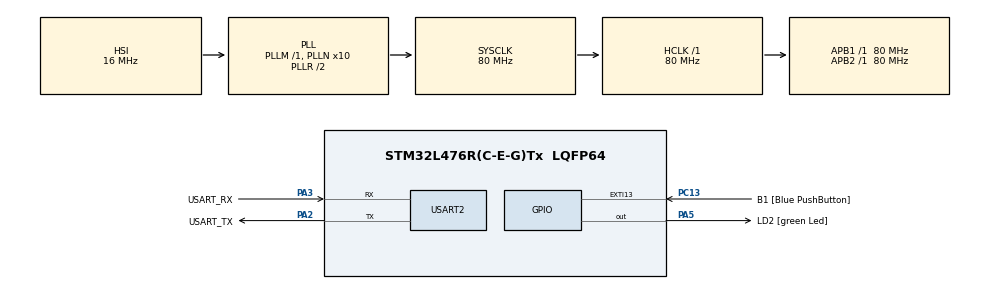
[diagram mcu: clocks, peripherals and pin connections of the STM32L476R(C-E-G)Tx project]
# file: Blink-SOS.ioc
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Mcu.Family=STM32L4
Mcu.Name=STM32L476R(C-E-G)Tx
Mcu.Package=LQFP64
NVIC.PriorityGroup=NVIC_PRIORITYGROUP_4
PA13\ (JTMS-SWDIO).GPIO_Label=TMS
PA13\ (JTMS-SWDIO).Mode=Serial_Wire
PA13\ (JTMS-SWDIO).Signal=SYS_JTMS-SWDIO
PA14\ (JTCK-SWCLK).GPIO_Label=TCK
PA14\ (JTCK-SWCLK).Mode=Serial_Wire
PA14\ (JTCK-SWCLK).Signal=SYS_JTCK-SWCLK
PA2.GPIO_Label=USART_TX
PA2.GPIO_Mode=GPIO_MODE_AF_PP
PA2.GPIO_PuPd=GPIO_NOPULL
PA2.GPIO_Speed=GPIO_SPEED_FREQ_VERY_HIGH
PA2.Mode=Asynchronous
PA2.Signal=USART2_TX
PA3.GPIO_Label=USART_RX
PA3.GPIO_Mode=GPIO_MODE_AF_PP
PA3.GPIO_PuPd=GPIO_NOPULL
PA3.GPIO_Speed=GPIO_SPEED_FREQ_VERY_HIGH
PA3.Mode=Asynchronous
PA3.Signal=USART2_RX
PA5.GPIO_Label=LD2 [green Led]
PA5.GPIO_ModeDefaultOutputPP=GPIO_MODE_OUTPUT_PP
PA5.GPIO_PuPd=GPIO_NOPULL
PA5.GPIO_Speed=GPIO_SPEED_FREQ_LOW
PA5.Signal=GPIO_Output
PB3\ (JTDO-TRACESWO).GPIO_Label=SWO
PB3\ (JTDO-TRACESWO).Signal=SYS_JTDO-SWO
PC13.GPIO_Label=B1 [Blue PushButton]
PC13.GPIO_ModeDefaultEXTI=GPIO_MODE_IT_FALLING
PC13.GPIO_PuPd=GPIO_NOPULL
PC13.Signal=GPXTI13
PC14-OSC32_IN\ (PC14).Mode=LSE-External-Oscillator
PC14-OSC32_IN\ (PC14).Signal=RCC_OSC32_IN
PC15-OSC32_OUT\ (PC15).Mode=LSE-External-Oscillator
PC15-OSC32_OUT\ (PC15).Signal=RCC_OSC32_OUT
PH0-OSC_IN\ (PH0).Signal=RCC_OSC_IN
PH1-OSC_OUT\ (PH1).Signal=RCC_OSC_OUT
ProjectManager.HeapSize=0x200
ProjectManager.StackSize=0x400
ProjectManager.TargetToolchain=STM32CubeIDE
RCC.ADCFreq_Value=64000000
RCC.AHBFreq_Value=80000000
RCC.APB1Freq_Value=80000000
RCC.APB1TimFreq_Value=80000000
RCC.APB2Freq_Value=80000000
RCC.APB2TimFreq_Value=80000000
RCC.CortexFreq_Value=80000000
RCC.HCLKFreq_Value=80000000
RCC.HSE_VALUE=8000000
RCC.HSI_VALUE=16000000
RCC.MSI_VALUE=4000000
RCC.PLLN=10
RCC.PLLSourceVirtual=RCC_PLLSOURCE_HSI
RCC.PREFETCH_ENABLE=1
RCC.SYSCLKFreq_VALUE=80000000
RCC.SYSCLKSource=RCC_SYSCLKSOURCE_PLLCLK
RCC.USBFreq_Value=64000000
RCC.VCOOutputFreq_Value=160000000
USART2.VirtualMode-Asynchronous=VM_ASYNC
board=NUCLEO-L476RG

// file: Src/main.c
/* USER CODE BEGIN Header */
/**
 ******************************************************************************
 * @file           : main.c
 * @brief          : Main program body
 ******************************************************************************
 * @attention
 *
 * <h2><center>&copy; Copyright (c) 2019 STMicroelectronics.
 * All rights reserved.</center></h2>
 *
 * This software component is licensed by ST under BSD 3-Clause license,
 * the "License"; You may not use this file except in compliance with the
 * License. You may obtain a copy of the License at:
 *                        opensource.org/licenses/BSD-3-Clause
 *
 ******************************************************************************
 */
/* USER CODE END Header */

#include "main.h"

/* USER CODE BEGIN PD */
#define OFF_LENGTH 200
#define DOT_LENGTH OFF_LENGTH*2
#define DASH_LENGTH DOT_LENGTH*3

/* USER CODE END PD */

UART_HandleTypeDef huart2;

void SystemClock_Config(void);
static void MX_GPIO_Init(void);
static void MX_USART2_UART_Init(void);

/* USER CODE BEGIN 0 */
void writeLEDCycle(int msOn, int msOff) {
	HAL_GPIO_WritePin(LD2_GPIO_Port, LD2_Pin, GPIO_PIN_SET);
	HAL_Delay(msOn);
	HAL_GPIO_TogglePin(LD2_GPIO_Port, LD2_Pin);
	HAL_Delay(msOff);
}

void writeDot() {
	writeLEDCycle(DOT_LENGTH, OFF_LENGTH);
}

void writeDash() {
	writeLEDCycle(DASH_LENGTH, OFF_LENGTH);
}

void writeS() {
	writeDot();
	writeDot();
	writeDot();
}

void writeO() {
	writeDash();
	writeDash();
	writeDash();
}
/* USER CODE END 0 */

int main(void) {

	/* MCU Configuration--------------------------------------------------------*/

	/* Reset of all peripherals, Initializes the Flash interface and the Systick. */
	HAL_Init();

	/* Configure the system clock */
	SystemClock_Config();

	/* Initialize all configured peripherals */
	MX_GPIO_Init();
	MX_USART2_UART_Init();

	/* Infinite loop */
	while (1) {
		writeS();
		writeO();
		writeS();
	}
}

void SystemClock_Config(void) {
	RCC_OscInitTypeDef RCC_OscInitStruct = { 0 };
	RCC_ClkInitTypeDef RCC_ClkInitStruct = { 0 };
	RCC_PeriphCLKInitTypeDef PeriphClkInit = { 0 };

	/** Initializes the CPU, AHB and APB busses clocks
	 */
	RCC_OscInitStruct.OscillatorType = RCC_OSCILLATORTYPE_HSI;
	RCC_OscInitStruct.HSIState = RCC_HSI_ON;
	RCC_OscInitStruct.HSICalibrationValue = RCC_HSICALIBRATION_DEFAULT;
	RCC_OscInitStruct.PLL.PLLState = RCC_PLL_ON;
	RCC_OscInitStruct.PLL.PLLSource = RCC_PLLSOURCE_HSI;
	RCC_OscInitStruct.PLL.PLLM = 1;
	RCC_OscInitStruct.PLL.PLLN = 10;
	RCC_OscInitStruct.PLL.PLLP = RCC_PLLP_DIV7;
	RCC_OscInitStruct.PLL.PLLQ = RCC_PLLQ_DIV2;
	RCC_OscInitStruct.PLL.PLLR = RCC_PLLR_DIV2;
	if (HAL_RCC_OscConfig(&RCC_OscInitStruct) != HAL_OK) {
		Error_Handler();
	}
	/** Initializes the CPU, AHB and APB busses clocks
	 */
	RCC_ClkInitStruct.ClockType = RCC_CLOCKTYPE_HCLK | RCC_CLOCKTYPE_SYSCLK
			| RCC_CLOCKTYPE_PCLK1 | RCC_CLOCKTYPE_PCLK2;
	RCC_ClkInitStruct.SYSCLKSource = RCC_SYSCLKSOURCE_PLLCLK;
	RCC_ClkInitStruct.AHBCLKDivider = RCC_SYSCLK_DIV1;
	RCC_ClkInitStruct.APB1CLKDivider = RCC_HCLK_DIV1;
	RCC_ClkInitStruct.APB2CLKDivider = RCC_HCLK_DIV1;

	if (HAL_RCC_ClockConfig(&RCC_ClkInitStruct, FLASH_LATENCY_4) != HAL_OK) {
		Error_Handler();
	}
	PeriphClkInit.PeriphClockSelection = RCC_PERIPHCLK_USART2;
	PeriphClkInit.Usart2ClockSelection = RCC_USART2CLKSOURCE_PCLK1;
	if (HAL_RCCEx_PeriphCLKConfig(&PeriphClkInit) != HAL_OK) {
		Error_Handler();
	}
	/** Configure the main internal regulator output voltage
	 */
	if (HAL_PWREx_ControlVoltageScaling(PWR_REGULATOR_VOLTAGE_SCALE1)
			!= HAL_OK) {
		Error_Handler();
	}
}

static void MX_USART2_UART_Init(void) {

	huart2.Instance = USART2;
	huart2.Init.BaudRate = 115200;
	huart2.Init.WordLength = UART_WORDLENGTH_8B;
	huart2.Init.StopBits = UART_STOPBITS_1;
	huart2.Init.Parity = UART_PARITY_NONE;
	huart2.Init.Mode = UART_MODE_TX_RX;
	huart2.Init.HwFlowCtl = UART_HWCONTROL_NONE;
	huart2.Init.OverSampling = UART_OVERSAMPLING_16;
	huart2.Init.OneBitSampling = UART_ONE_BIT_SAMPLE_DISABLE;
	huart2.AdvancedInit.AdvFeatureInit = UART_ADVFEATURE_NO_INIT;
	if (HAL_UART_Init(&huart2) != HAL_OK) {
		Error_Handler();
	}

}

static void MX_GPIO_Init(void) {
	GPIO_InitTypeDef GPIO_InitStruct = { 0 };

	/* GPIO Ports Clock Enable */
	__HAL_RCC_GPIOC_CLK_ENABLE()
	;
	__HAL_RCC_GPIOH_CLK_ENABLE()
	;
	__HAL_RCC_GPIOA_CLK_ENABLE()
	;
	__HAL_RCC_GPIOB_CLK_ENABLE()
	;

	/*Configure GPIO pin Output Level */
	HAL_GPIO_WritePin(LD2_GPIO_Port, LD2_Pin, GPIO_PIN_RESET);

	/*Configure GPIO pin : B1_Pin */
	GPIO_InitStruct.Pin = B1_Pin;
	GPIO_InitStruct.Mode = GPIO_MODE_IT_FALLING;
	GPIO_InitStruct.Pull = GPIO_NOPULL;
	HAL_GPIO_Init(B1_GPIO_Port, &GPIO_InitStruct);

	/*Configure GPIO pin : LD2_Pin */
	GPIO_InitStruct.Pin = LD2_Pin;
	GPIO_InitStruct.Mode = GPIO_MODE_OUTPUT_PP;
	GPIO_InitStruct.Pull = GPIO_NOPULL;
	GPIO_InitStruct.Speed = GPIO_SPEED_FREQ_LOW;
	HAL_GPIO_Init(LD2_GPIO_Port, &GPIO_InitStruct);

}

void Error_Handler(void) {
}

/************************ (C) COPYRIGHT STMicroelectronics *****END OF FILE****/
